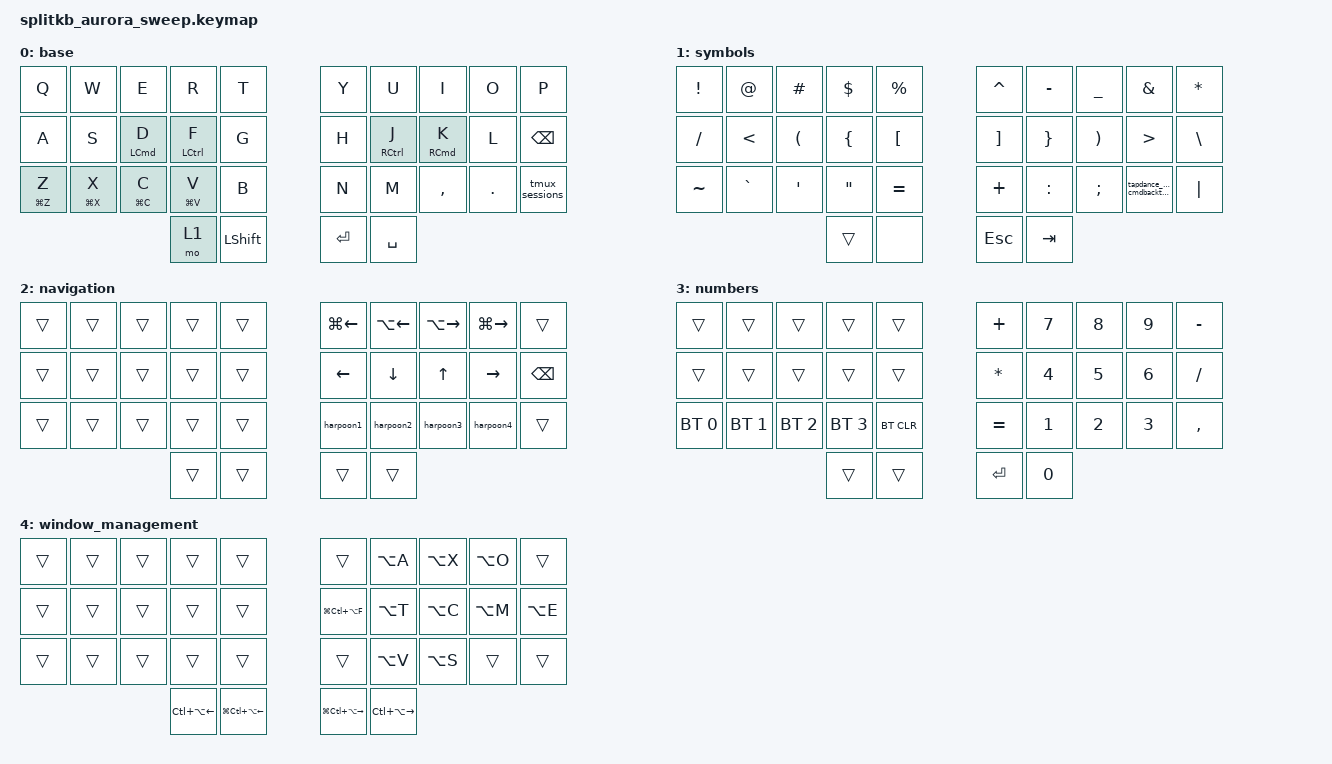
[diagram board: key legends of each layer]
/*
 * Copyright (c) 2022 The ZMK Contributors
 *
 * SPDX-License-Identifier: MIT
 */

#include <behaviors.dtsi>
#include <dt-bindings/zmk/bt.h>
#include <dt-bindings/zmk/keys.h>

/ {
    combos {
        compatible = "zmk,combos";

        layer2 {
            bindings = <&mo 2>;
            key-positions = <13 12>;
        };

        layer3 {
            bindings = <&mo 3>;
            key-positions = <12 11>;
        };

        layer4 {
            bindings = <&mo 4>;
            key-positions = <11 13>;
        };

        esc {
            bindings = <&kp ESCAPE>;
            key-positions = <16 17>;
        };
    };

    behaviors {
        homerow_mods: homerow_mods {
            compatible = "zmk,behavior-hold-tap";
            label = "HOMEROW_MODS";
            bindings = <&kp>, <&kp>;

            #binding-cells = <2>;
            tapping-term-ms = <200>;
        };

        tapdance_questionm_cmdbacktick: tapdance_questionm_cmdbacktick {
            compatible = "zmk,behavior-tap-dance";
            label = "TAPDANCE_QUESTIONM_CMDBACKTICK";
            #binding-cells = <0>;
            bindings = <&kp QUESTION>, <&kp LG(GRAVE)>;
        };
    };

    macros {
        harpoon1: harpoon1 {
            compatible = "zmk,behavior-macro";
            #binding-cells = <0>;
            bindings = <&kp SPACE &kp NUMBER_1>;
            label = "HARPOON1";
            wait-ms = <5>;
        };

        harpoon2: harpoon2 {
            compatible = "zmk,behavior-macro";
            #binding-cells = <0>;
            bindings = <&kp SPACE &kp NUMBER_2>;
            label = "HARPOON2";
            wait-ms = <5>;
        };

        harpoon3: harpoon3 {
            compatible = "zmk,behavior-macro";
            #binding-cells = <0>;
            bindings = <&kp SPACE &kp NUMBER_3>;
            label = "HARPOON3";
            wait-ms = <5>;
        };

        harpoon4: harpoon4 {
            compatible = "zmk,behavior-macro";
            #binding-cells = <0>;
            bindings = <&kp SPACE &kp NUMBER_4>;
            label = "HARPOON4";
            wait-ms = <5>;
        };

        tmux_sessions: tmux_sessions {
            compatible = "zmk,behavior-macro";
            #binding-cells = <0>;
            bindings = <&kp LC(B) &kp S>;
            label = "TMUX_SESSIONS";
            wait-ms = <5>;
        };
    };

    keymap {
        compatible = "zmk,keymap";

        base {
            bindings = <
&kp Q                  &kp W                  &kp E                  &kp R                  &kp T    &kp Y  &kp U                  &kp I                 &kp O      &kp P
&kp A                  &kp S                  &homerow_mods LCMD D   &homerow_mods LCTRL F  &kp G    &kp H  &homerow_mods RCTRL J  &homerow_mods RCMD K  &kp L      &kp BACKSPACE
&homerow_mods LG(Z) Z  &homerow_mods LG(X) X  &homerow_mods LG(C) C  &homerow_mods LG(V) V  &kp B    &kp N  &kp M                  &kp COMMA             &kp DOT    &tmux_sessions
&mo 1                  &kp LEFT_SHIFT                                                                                                                    &kp ENTER  &kp SPACE
            >;
        };

        symbols {
            bindings = <
&kp EXCL   &kp AT         &kp HASH              &kp DLLR           &kp PRCNT           &kp CARET          &kp MINUS        &kp UNDERSCORE         &kp AMPERSAND                    &kp ASTERISK
&kp SLASH  &kp LESS_THAN  &kp LEFT_PARENTHESIS  &kp LEFT_BRACE     &kp LEFT_BRACKET    &kp RIGHT_BRACKET  &kp RIGHT_BRACE  &kp RIGHT_PARENTHESIS  &kp GREATER_THAN                 &kp BACKSLASH
&kp TILDE  &kp GRAVE      &kp SINGLE_QUOTE      &kp DOUBLE_QUOTES  &kp EQUAL           &kp PLUS           &kp COLON        &kp SEMICOLON          &tapdance_questionm_cmdbacktick  &kp PIPE
&trans     &none                                                                                                                                  &kp ESCAPE                       &kp TAB
            >;
        };

        navigation {
            bindings = <
&trans  &trans  &trans  &trans  &trans    &kp LG(LEFT)    &kp LA(LEFT_ARROW)  &kp LA(RIGHT_ARROW)  &kp LG(RIGHT_ARROW)  &trans
&trans  &trans  &trans  &trans  &trans    &kp LEFT_ARROW  &kp DOWN_ARROW      &kp UP_ARROW         &kp RIGHT_ARROW      &kp BACKSPACE
&trans  &trans  &trans  &trans  &trans    &harpoon1       &harpoon2           &harpoon3            &harpoon4            &trans
&trans  &trans                                                                                     &trans               &trans
            >;
        };

        numbers {
            bindings = <
&trans        &trans        &trans        &trans        &trans        &kp PLUS      &kp N7        &kp NUMBER_8  &kp NUMBER_9  &kp MINUS
&trans        &trans        &trans        &trans        &trans        &kp ASTERISK  &kp NUMBER_4  &kp NUMBER_5  &kp NUMBER_6  &kp SLASH
&bt BT_SEL 0  &bt BT_SEL 1  &bt BT_SEL 2  &bt BT_SEL 3  &bt BT_CLR    &kp EQUAL     &kp NUMBER_1  &kp NUMBER_2  &kp NUMBER_3  &kp COMMA
&trans        &trans                                                                                            &kp RETURN    &kp NUMBER_0
            >;
        };

        window_management {
            bindings = <
&trans                  &trans                      &trans  &trans  &trans    &trans             &kp LA(A)  &kp LA(X)  &kp LA(O)                    &trans
&trans                  &trans                      &trans  &trans  &trans    &kp LG(LC(LA(F)))  &kp LA(T)  &kp LA(C)  &kp LA(M)                    &kp LA(E)
&trans                  &trans                      &trans  &trans  &trans    &trans             &kp LA(V)  &kp LA(S)  &trans                       &trans
&kp LC(LA(LEFT_ARROW))  &kp LG(LC(LA(LEFT_ARROW)))                                                                     &kp LG(LC(LA(RIGHT_ARROW)))  &kp LC(LA(RIGHT_ARROW))
            >;
        };
    };
};
